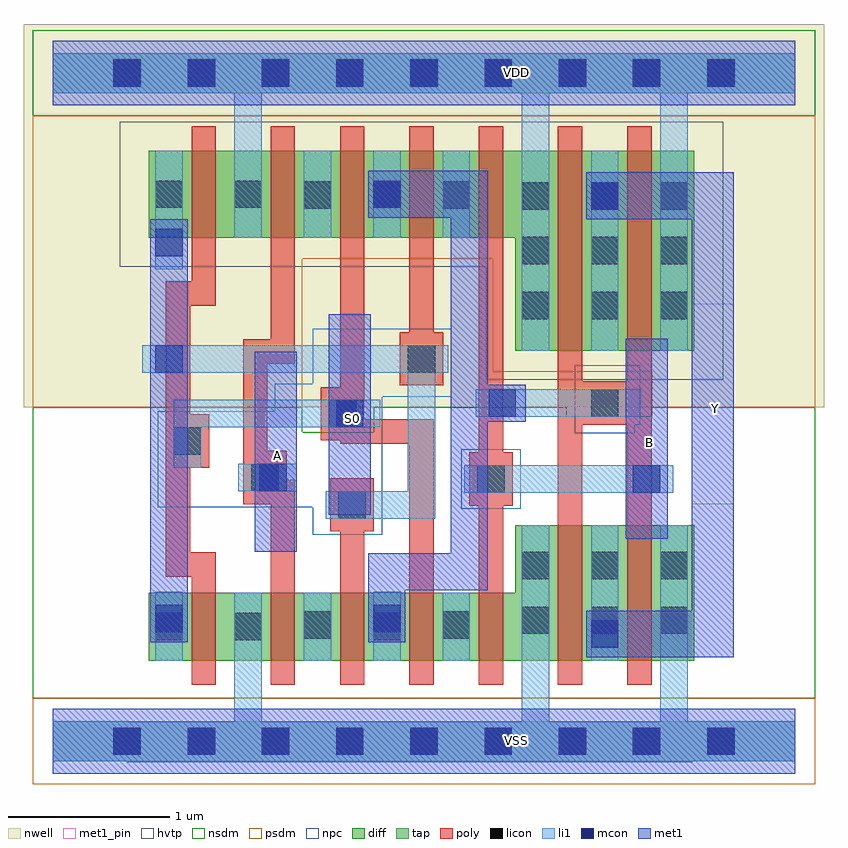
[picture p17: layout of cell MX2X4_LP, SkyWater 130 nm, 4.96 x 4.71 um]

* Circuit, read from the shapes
.subckt MX2X4_LP A B S0 VDD VSS Y
XM1 VSS S0 n1 VSS sky130_fd_pr__nfet_01v8 w=0.42 l=0.15
XM2 n2 A VSS VSS sky130_fd_pr__nfet_01v8 w=0.42 l=0.15
XM3 n3 n1 n2 VSS sky130_fd_pr__nfet_01v8 w=0.42 l=0.15
XM4 n4 S0 n3 VSS sky130_fd_pr__nfet_01v8 w=0.42 l=0.15
XM5 VSS B n4 VSS sky130_fd_pr__nfet_01v8 w=0.42 l=0.15
XM6 Y n3 VSS VSS sky130_fd_pr__nfet_01v8 w=0.84 l=0.15 m=2
XM7 VDD S0 n1 VDD sky130_fd_pr__pfet_01v8_hvt w=0.54 l=0.15
XM8 n5 A VDD VDD sky130_fd_pr__pfet_01v8_hvt w=0.54 l=0.15
XM9 n3 S0 n5 VDD sky130_fd_pr__pfet_01v8_hvt w=0.54 l=0.15
XM10 n6 n1 n3 VDD sky130_fd_pr__pfet_01v8_hvt w=0.54 l=0.15
XM11 VDD B n6 VDD sky130_fd_pr__pfet_01v8_hvt w=0.54 l=0.15
XM12 Y n3 VDD VDD sky130_fd_pr__pfet_01v8_hvt w=1.24 l=0.15 m=2
.ends

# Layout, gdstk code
from math import pi, radians
import gdstk
lib = gdstk.Library(unit=1e-6, precision=1e-09)
def R(c, l, rs):  # rectangles x0, y0, x1, y1
    for r in rs: c.add(gdstk.rectangle(r[:2], r[2:], *l))
def A(c, l, x, y, w, h, nx, ny, dx, dy):  # array of equal rectangles
    R(c, l, [(x+i*dx, y+j*dy, x+i*dx+w, y+j*dy+h) for i in range(nx) for j in range(ny)])
def P(c, l, *ps):  # polygons
    for p in ps: c.add(gdstk.Polygon(p, *l))
nwell = (64, 20)
diff = (65, 20)
tap = (65, 44)
poly = (66, 20)
licon = (66, 44)
li1 = (67, 20)
mcon = (67, 44)
met1_pin = (68, 16)
met1 = (68, 20)
hvtp = (78, 44)
nsdm = (93, 44)
psdm = (94, 20)
npc = (95, 20)

pyl1con_c_cdns_752016907 = lib.new_cell('PYL1CON_C_CDNS_752016907000')
R(pyl1con_c_cdns_752016907, poly, [(-0.135,-0.165,0.135,0.165)])
R(pyl1con_c_cdns_752016907, licon, [(-0.085,-0.085,0.085,0.085)])
R(pyl1con_c_cdns_752016907, npc, [(-0.185,-0.185,0.185,0.185)])

l1m1_c_cdns_752016907001 = lib.new_cell('L1M1_C_CDNS_752016907001')
R(l1m1_c_cdns_752016907001, li1, [(-0.085,-0.165,0.085,0.165)])
R(l1m1_c_cdns_752016907001, mcon, [(-0.085,-0.085,0.085,0.085)])
R(l1m1_c_cdns_752016907001, met1, [(-0.115,-0.145,0.115,0.145)])

l1m1_c_cdns_752016907006 = lib.new_cell('L1M1_C_CDNS_752016907006')
R(l1m1_c_cdns_752016907006, li1, [(-0.085,-0.165,0.085,0.165)])
R(l1m1_c_cdns_752016907006, mcon, [(-0.085,-0.085,0.085,0.085)])
R(l1m1_c_cdns_752016907006, met1, [(-0.145,-0.115,0.145,0.115)])

c_l1m1_c_cdns_752016907001 = lib.new_cell('L1M1_C_CDNS_7520169070016')
R(c_l1m1_c_cdns_752016907001, li1, [(-0.165,-0.085,0.145,0.085)])
R(c_l1m1_c_cdns_752016907001, mcon, [(-0.085,-0.085,0.085,0.085)])
R(c_l1m1_c_cdns_752016907001, met1, [(-0.115,-0.145,0.115,0.145)])

l1m1_c_cdns_752016907003 = lib.new_cell('L1M1_C_CDNS_752016907003')
R(l1m1_c_cdns_752016907003, li1, [(-0.165,-0.085,0.165,0.085)])
R(l1m1_c_cdns_752016907003, mcon, [(-0.085,-0.085,0.085,0.085)])
R(l1m1_c_cdns_752016907003, met1, [(-0.115,-0.145,0.115,0.145)])

licondiff_c_cdns_7520169 = lib.new_cell('LICONDIFF_C_CDNS_752016907004')
R(licondiff_c_cdns_7520169, diff, [(-0.125,-0.145,0.125,0.145)])
R(licondiff_c_cdns_7520169, licon, [(-0.085,-0.085,0.085,0.085), (-0.085,-0.085,0.085,0.085)])

mx2x4_lp = lib.new_cell('MX2X4_LP')
R(mx2x4_lp, nwell, [(-0.18,2.07,4.78,4.445)])
P(mx2x4_lp, diff, [(3.975,3.66),(0.595,3.66),(0.595,3.12),(2.865,3.12),(2.865,2.42),(3.975,2.42)],
  [(3.975,1.34),(2.865,1.34),(2.865,0.92),(0.595,0.92),(0.595,0.5),(3.975,0.5)])
R(mx2x4_lp, poly, [(1.78,0.35,1.93,1.63), (2.64,0.35,2.79,3.81), (3.13,0.35,3.28,3.81), (3.56,0.35,3.71,3.81), (2.21,2.37,2.36,3.81)])
P(mx2x4_lp, poly, [(1.01,1.17),(0.85,1.17),(0.85,2.7),(1.01,2.7),(1.01,3.81),(0.86,3.81),(0.86,2.85),(0.7,2.85),(0.7,1.02),(0.86,1.02),(0.86,0.35),(1.01,0.35)],
  [(1.5,1.62),(1.33,1.62),(1.33,2.34),(1.5,2.34),(1.5,3.81),(1.35,3.81),(1.35,2.49),(1.18,2.49),(1.18,1.47),(1.35,1.47),(1.35,0.35),(1.5,0.35)],
  [(2.36,1.995),(1.93,1.995),(1.93,3.81),(1.78,3.81),(1.78,1.845),(2.21,1.845),(2.21,0.35),(2.36,0.35)])
A(mx2x4_lp, licon, 0.375, -0.085, 0.17, 0.17, 9, 2, 0.46, 4.14)
A(mx2x4_lp, licon, 2.905, 0.665, 0.17, 0.17, 3, 2, 0.43, 0.34)
A(mx2x4_lp, licon, 2.905, 2.615, 0.17, 0.17, 3, 3, 0.43, 0.34)
R(mx2x4_lp, licon, [(0.635,0.625,0.805,0.795), (1.125,0.625,1.295,0.795), (1.985,0.625,2.155,0.795), (0.635,3.305,0.805,3.475), (1.125,3.305,1.295,3.475), (1.985,3.305,2.155,3.475)])
R(mx2x4_lp, li1, [(0.635,0.5,0.805,0.92), (1.985,0.5,2.155,0.92), (3.335,0.5,3.505,1.34), (3.335,2.42,3.505,3.66), (0.635,3.12,0.805,3.66), (1.985,3.12,2.155,3.66)])
P(mx2x4_lp, li1, [(2.45,2.455),(0.555,2.455),(0.555,2.285),(2.2,2.285),(2.2,1.55),(1.69,1.55),(1.69,1.38),(2.37,1.38),(2.37,2.285),(2.45,2.285)],
  [(4.6,4.265),(0,4.265),(0,4.015),(1.125,4.015),(1.125,3.12),(1.295,3.12),(1.295,4.015),(2.905,4.015),(2.905,2.42),(3.075,2.42),(3.075,4.015),(3.765,4.015),(3.765,2.42),(3.935,2.42),(3.935,4.015),(4.6,4.015)],
  [(4.6,0.125),(3.935,0.125),(3.935,1.34),(3.765,1.34),(3.765,0.12),(3.075,0.12),(3.075,1.34),(2.905,1.34),(2.905,0.12),(1.295,0.12),(1.295,0.92),(1.125,0.92),(1.125,0.12),(0.46,0.12),(0.46,0.125),(0,0.125),(0,-0.125),(0.46,-0.125),(0.46,-0.13),(3.965,-0.13),(3.965,-0.125),(4.6,-0.125)])
A(mx2x4_lp, mcon, 0.375, -0.085, 0.17, 0.17, 9, 2, 0.46, 4.14)
R(mx2x4_lp, met1_pin, [(1.25,1.175,1.51,2.415), (3.55,1.255,3.81,2.495), (1.71,1.405,1.97,2.645), (3.96,1.47,4.22,2.71)])
P(mx2x4_lp, met1, [(2.695,3.535),(1.955,3.535),(1.955,3.245),(2.465,3.245),(2.465,1.165),(1.955,1.165),(1.955,0.615),(2.185,0.615),(2.185,0.935),(2.695,0.935)],
  [(4.22,3.525),(3.42,3.525),(3.42,3.235),(3.96,3.235),(3.96,0.81),(3.42,0.81),(3.42,0.52),(4.22,0.52)])
P(mx2x4_lp, hvtp, [(4.155,3.84),(0.415,3.84),(0.415,2.94),(2.685,2.94),(2.685,2.24),(4.155,2.24)])
R(mx2x4_lp, nsdm, [(-0.125,3.875,4.725,4.405)])
P(mx2x4_lp, nsdm, [(4.725,2.07),(3.71,2.07),(3.71,2.015),(3.185,2.015),(3.185,2.07),(1.99,2.07),(1.99,1.915),(1.545,1.915),(1.545,2.07),(-0.125,2.07),(-0.125,0.265),(4.725,0.265)])
R(mx2x4_lp, psdm, [(-0.125,-0.265,4.725,0.265)])
P(mx2x4_lp, psdm, [(4.725,3.875),(-0.125,3.875),(-0.125,2.07),(1.545,2.07),(1.545,2.99),(2.725,2.99),(2.725,2.29),(3.71,2.29),(3.71,2.07),(4.725,2.07)])
R(mx2x4_lp, npc, [(3.235,1.96,3.64,2.33)])
P(mx2x4_lp, npc, [(2.47,2.555),(1.61,2.555),(1.61,2.215),(1.375,2.215),(1.375,2.045),(0.65,2.045),(0.65,1.45),(1.61,1.45),(1.61,1.28),(2.04,1.28),(2.04,2.135),(2.47,2.135)])
mx2x4_lp.add(gdstk.FlexPath([(2.55,1.625),(3.68,1.625)], 0.17, ends="flush", simple_path=True, layer=67, datatype=20))  # li1
mx2x4_lp.add(gdstk.FlexPath([(1.225,1.635),(1.51,1.635)], 0.17, ends=(0.075, 0), simple_path=True, layer=67, datatype=20))  # li1
mx2x4_lp.add(gdstk.FlexPath([(1.64,0.5),(1.64,0.92)], 0.17, ends="flush", simple_path=True, layer=67, datatype=20))  # li1
mx2x4_lp.add(gdstk.FlexPath([(2.5,0.5),(2.5,0.92)], 0.17, ends="flush", simple_path=True, layer=67, datatype=20))  # li1
mx2x4_lp.add(gdstk.FlexPath([(2.03,2.03),(0.835,2.03),(0.835,1.695)], 0.17, ends="flush", simple_path=True, layer=67, datatype=20))  # li1
mx2x4_lp.add(gdstk.FlexPath([(2.9,2.095),(3.64,2.095)], 0.17, ends="flush", simple_path=True, layer=67, datatype=20))  # li1
mx2x4_lp.add(gdstk.FlexPath([(2.5,3.12),(2.5,3.66)], 0.17, ends="flush", simple_path=True, layer=67, datatype=20))  # li1
mx2x4_lp.add(gdstk.FlexPath([(1.64,3.12),(1.64,3.66)], 0.17, ends="flush", simple_path=True, layer=67, datatype=20))  # li1
mx2x4_lp.add(gdstk.FlexPath([(0,4.14),(4.6,4.14)], 0.25, ends="flush", simple_path=True, layer=65, datatype=44))  # tap
mx2x4_lp.add(gdstk.FlexPath([(0,0),(4.6,0)], 0.25, ends="flush", simple_path=True, layer=65, datatype=44))  # tap
mx2x4_lp.add(gdstk.FlexPath([(0,4.14),(4.6,4.14)], 0.4, ends="flush", simple_path=True, layer=68, datatype=20))  # met1
mx2x4_lp.add(gdstk.FlexPath([(0,0),(4.6,0)], 0.4, ends="flush", simple_path=True, layer=68, datatype=20))  # met1
mx2x4_lp.add(gdstk.FlexPath([(0.72,0.705),(0.72,3.235)], 0.23, ends="flush", simple_path=True, layer=68, datatype=20))  # met1
mx2x4_lp.add(gdstk.FlexPath([(1.38,1.175),(1.38,2.415)], 0.26, ends="flush", simple_path=True, layer=68, datatype=20))  # met1
mx2x4_lp.add(gdstk.FlexPath([(1.84,1.405),(1.84,2.645)], 0.26, ends="flush", simple_path=True, layer=68, datatype=20))  # met1
mx2x4_lp.add(gdstk.FlexPath([(3.68,1.255),(3.68,2.495)], 0.26, ends="flush", simple_path=True, layer=68, datatype=20))  # met1
mx2x4_lp.add(gdstk.FlexPath([(0,4.14),(4.6,4.14)], 0.4, ends="flush", simple_path=True, layer=68, datatype=16))  # met1_pin
mx2x4_lp.add(gdstk.FlexPath([(0,0),(4.6,0)], 0.4, ends="flush", simple_path=True, layer=68, datatype=16))  # met1_pin
mx2x4_lp.add(gdstk.Reference(pyl1con_c_cdns_752016907, (1.315,1.635), x_reflection=True))
mx2x4_lp.add(gdstk.Reference(pyl1con_c_cdns_752016907, (1.795,2.03), x_reflection=True))
mx2x4_lp.add(gdstk.Reference(pyl1con_c_cdns_752016907, (0.835,1.86), x_reflection=True))
mx2x4_lp.add(gdstk.Reference(pyl1con_c_cdns_752016907, (2.715,1.625), x_reflection=True))
mx2x4_lp.add(gdstk.Reference(pyl1con_c_cdns_752016907, (3.42,2.095), rotation=3*pi/2))
mx2x4_lp.add(gdstk.Reference(pyl1con_c_cdns_752016907, (2.285,2.37), x_reflection=True))
mx2x4_lp.add(gdstk.Reference(pyl1con_c_cdns_752016907, (1.855,1.465)))
mx2x4_lp.add(gdstk.Reference(l1m1_c_cdns_752016907001, (2.785,2.095), rotation=pi/2))
mx2x4_lp.add(gdstk.Reference(l1m1_c_cdns_752016907001, (2.07,0.76)))
mx2x4_lp.add(gdstk.Reference(l1m1_c_cdns_752016907001, (2.07,3.39)))
mx2x4_lp.add(gdstk.Reference(l1m1_c_cdns_752016907001, (3.42,0.665)))
mx2x4_lp.add(gdstk.Reference(l1m1_c_cdns_752016907001, (3.42,3.38)))
mx2x4_lp.add(gdstk.Reference(l1m1_c_cdns_752016907001, (0.72,3.09)))
mx2x4_lp.add(gdstk.Reference(l1m1_c_cdns_752016907001, (0.72,0.76)))
mx2x4_lp.add(gdstk.Reference(l1m1_c_cdns_752016907006, (0.72,2.37), rotation=pi/2))
mx2x4_lp.add(gdstk.Reference(c_l1m1_c_cdns_752016907001, (1.365,1.635), x_reflection=True))
mx2x4_lp.add(gdstk.Reference(l1m1_c_cdns_752016907003, (1.84,2.03), x_reflection=True))
mx2x4_lp.add(gdstk.Reference(l1m1_c_cdns_752016907003, (3.68,1.625), x_reflection=True))
mx2x4_lp.add(gdstk.Reference(licondiff_c_cdns_7520169, (2.5,0.72)))
mx2x4_lp.add(gdstk.Reference(licondiff_c_cdns_7520169, (2.5,3.385)))
mx2x4_lp.add(gdstk.Reference(licondiff_c_cdns_7520169, (1.64,0.72)))
mx2x4_lp.add(gdstk.Reference(licondiff_c_cdns_7520169, (1.64,3.385)))
mx2x4_lp.add(gdstk.Label('VDD', (2.875,4.145), layer=68, texttype=5))
mx2x4_lp.add(gdstk.Label('B', (3.695,1.85), layer=68, texttype=5))
mx2x4_lp.add(gdstk.Label('A', (1.395,1.77), layer=68, texttype=5))
mx2x4_lp.add(gdstk.Label('S0', (1.855,2), layer=68, texttype=5))
mx2x4_lp.add(gdstk.Label('Y', (4.105,2.065), layer=68, texttype=5))
mx2x4_lp.add(gdstk.Label('VSS', (2.875,0.005), layer=68, texttype=5))

lib.write_gds('MX2X4_LP.gds')
